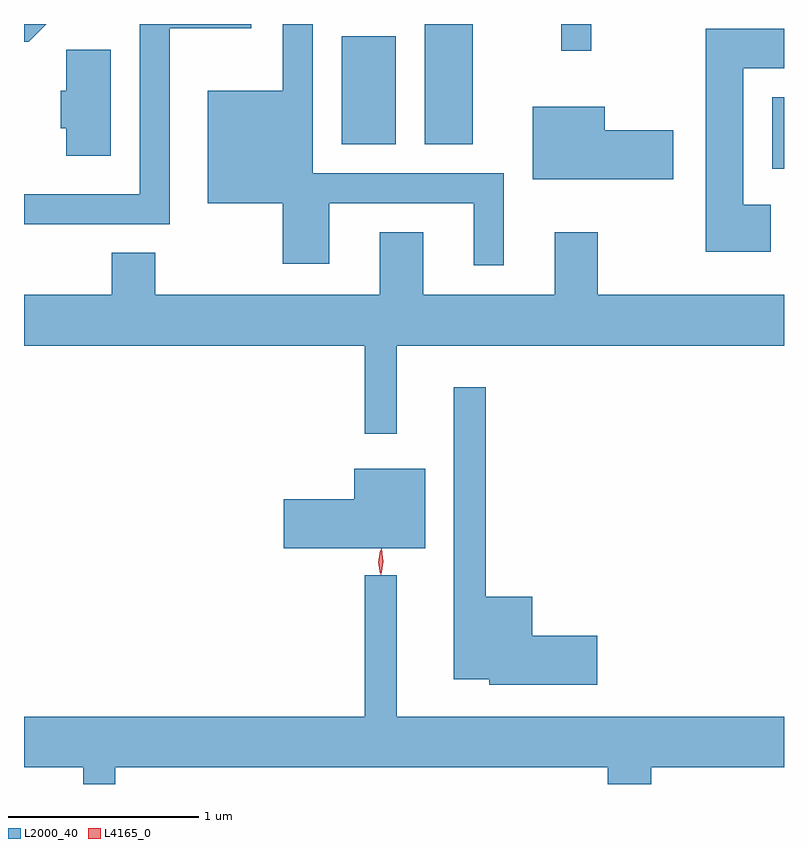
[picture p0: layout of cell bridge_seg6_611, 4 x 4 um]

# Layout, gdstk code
import gdstk
lib = gdstk.Library(unit=1e-6, precision=1e-09)
def R(c, l, rs):  # rectangles x0, y0, x1, y1
    for r in rs: c.add(gdstk.rectangle(r[:2], r[2:], *l))
def P(c, l, *ps):  # polygons
    for p in ps: c.add(gdstk.Polygon(p, *l))
L2000_40 = (2000, 40)
L4165_0 = (4165, 0)

bridge_seg6_611 = lib.new_cell('bridge_seg6_611')
R(bridge_seg6_611, L2000_40, [(287.426,1610.906,287.488,1611.284), (285.161,1611.036,285.444,1611.604), (285.596,1611.036,285.849,1611.669), (286.316,1611.528,286.474,1611.669)])
P(bridge_seg6_611, L2000_40, [(286.014,1610.884),(285.009,1610.884),(285.009,1611.669),(284.851,1611.669),(284.851,1611.319),(284.456,1611.319),(284.456,1610.726),(284.851,1610.726),(284.851,1610.406),(285.094,1610.406),(285.094,1610.726),(285.856,1610.726),(285.856,1610.398),(286.014,1610.398)],
  [(283.605,1611.669),(283.488,1611.669),(283.488,1611.576),(283.512,1611.576)],
  [(284.254,1611.646),(284.684,1611.646),(284.684,1611.669),(284.096,1611.669),(284.096,1610.774),(283.488,1610.774),(283.488,1610.616),(284.254,1610.616)],
  [(287.419,1610.719),(287.274,1610.719),(287.274,1611.436),(287.488,1611.436),(287.488,1611.644),(287.076,1611.644),(287.076,1610.471),(287.419,1610.471)],
  [(283.944,1611.534),(283.711,1611.534),(283.711,1611.319),(283.681,1611.319),(283.681,1611.121),(283.711,1611.121),(283.711,1610.976),(283.944,1610.976)],
  [(286.904,1611.109),(286.544,1611.109),(286.544,1611.234),(286.166,1611.234),(286.166,1610.851),(286.904,1610.851)],
  [(285.449,1609.976),(287.488,1609.976),(287.488,1610.244),(286.509,1610.244),(286.509,1610.574),(286.281,1610.574),(286.281,1610.244),(285.589,1610.244),(285.589,1610.574),(285.361,1610.574),(285.361,1610.244),(284.179,1610.244),(284.179,1610.464),(283.951,1610.464),(283.951,1610.244),(283.488,1610.244),(283.488,1609.976),(285.281,1609.976),(285.281,1609.513),(285.449,1609.513)],
  [(286.504,1608.449),(286.164,1608.449),(286.164,1608.654),(285.919,1608.654),(285.919,1609.758),(285.751,1609.758),(285.751,1608.221),(285.936,1608.221),(285.936,1608.191),(286.504,1608.191)],
  [(285.599,1609.329),(285.226,1609.329),(285.226,1609.169),(284.856,1609.169),(284.856,1608.911),(285.599,1608.911)],
  [(283.969,1607.756),(286.561,1607.756),(286.561,1607.669),(286.789,1607.669),(286.789,1607.756),(287.488,1607.756),(287.488,1608.024),(285.449,1608.024),(285.449,1608.768),(285.281,1608.768),(285.281,1608.024),(283.488,1608.024),(283.488,1607.756),(283.801,1607.756),(283.801,1607.669),(283.969,1607.669)])
P(bridge_seg6_611, L4165_0, [(285.362,1608.773),(285.362,1608.773),(285.352,1608.836),(285.362,1608.899),(285.362,1608.9),(285.363,1608.899),(285.372,1608.836),(285.363,1608.773)],
  [(285.367,1608.77),(285.358,1608.838),(285.369,1608.906),(285.369,1608.906),(285.37,1608.906),(285.378,1608.838),(285.368,1608.77),(285.368,1608.77)])

lib.write_gds('bridge_seg6_611.gds')
